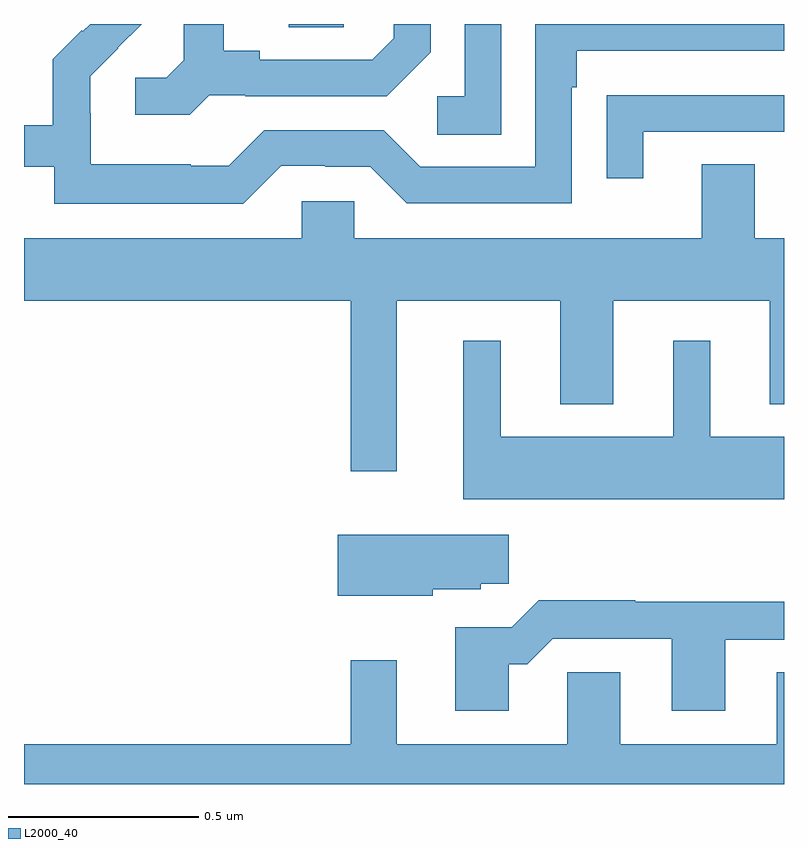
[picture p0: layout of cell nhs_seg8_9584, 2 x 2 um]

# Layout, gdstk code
import gdstk
lib = gdstk.Library(unit=1e-6, precision=1e-09)
def R(c, l, rs):  # rectangles x0, y0, x1, y1
    for r in rs: c.add(gdstk.rectangle(r[:2], r[2:], *l))
def P(c, l, *ps):  # polygons
    for p in ps: c.add(gdstk.Polygon(p, *l))
L2000_40 = (2000, 40)

nhs_seg8_9584 = lib.new_cell('nhs_seg8_9584')
R(nhs_seg8_9584, L2000_40, [(238.697,1111.891,238.842,1111.9)])
P(nhs_seg8_9584, L2000_40, [(238.488,1111.713),(238.582,1111.713),(238.582,1111.71),(238.954,1111.71),(239.07,1111.826),(239.07,1111.9),(238.973,1111.9),(238.973,1111.863),(238.916,1111.806),(238.621,1111.806),(238.621,1111.829),(238.525,1111.829),(238.525,1111.9),(238.421,1111.9),(238.421,1111.805),(238.374,1111.758),(238.293,1111.758),(238.293,1111.661),(238.436,1111.661)],
  [(239.256,1111.9),(239.16,1111.9),(239.16,1111.71),(239.088,1111.71),(239.088,1111.609),(239.256,1111.609)],
  [(238.677,1111.527),(238.793,1111.527),(238.793,1111.524),(238.911,1111.524),(239.007,1111.428),(239.442,1111.428),(239.442,1111.733),(239.455,1111.733),(239.455,1111.83),(240,1111.83),(240,1111.9),(239.346,1111.9),(239.346,1111.524),(239.043,1111.524),(238.947,1111.62),(238.632,1111.62),(238.539,1111.527),(238.439,1111.527),(238.439,1111.531),(238.176,1111.531),(238.176,1111.665),(238.174,1111.665),(238.174,1111.762),(238.248,1111.836),(238.247,1111.837),(238.31,1111.9),(238.174,1111.9),(238.155,1111.881),(238.152,1111.884),(238.075,1111.807),(238.075,1111.633),(238,1111.633),(238,1111.524),(238.08,1111.524),(238.08,1111.427),(238.577,1111.427)],
  [(239.629,1111.617),(240,1111.617),(240,1111.713),(239.635,1111.713),(239.635,1111.712),(239.533,1111.712),(239.533,1111.494),(239.629,1111.494)],
  [(238.981,1111.172),(239.411,1111.172),(239.411,1110.899),(239.551,1110.899),(239.551,1111.172),(239.963,1111.172),(239.963,1110.899),(240,1110.899),(240,1111.336),(239.923,1111.336),(239.923,1111.531),(239.783,1111.531),(239.783,1111.336),(238.869,1111.336),(238.869,1111.434),(238.731,1111.434),(238.731,1111.336),(238,1111.336),(238,1111.172),(238.86,1111.172),(238.86,1110.723),(238.981,1110.723)],
  [(240,1110.814),(239.806,1110.814),(239.806,1111.066),(239.708,1111.066),(239.708,1110.814),(239.254,1110.814),(239.254,1111.066),(239.156,1111.066),(239.156,1110.65),(240,1110.65)],
  [(239.076,1110.413),(239.202,1110.413),(239.202,1110.427),(239.275,1110.427),(239.275,1110.556),(238.826,1110.556),(238.826,1110.395),(239.076,1110.395)],
  [(239.275,1110.215),(239.324,1110.215),(239.391,1110.282),(239.705,1110.282),(239.705,1110.093),(239.845,1110.093),(239.845,1110.279),(240,1110.279),(240,1110.38),(239.609,1110.38),(239.609,1110.383),(239.354,1110.383),(239.283,1110.312),(239.135,1110.312),(239.135,1110.093),(239.275,1110.093)],
  [(240,1110.194),(239.981,1110.194),(239.981,1110.004),(239.569,1110.004),(239.569,1110.194),(239.43,1110.194),(239.43,1110.004),(238.981,1110.004),(238.981,1110.226),(238.86,1110.226),(238.86,1110.004),(238,1110.004),(238,1109.9),(240,1109.9)])

lib.write_gds('nhs_seg8_9584.gds')
